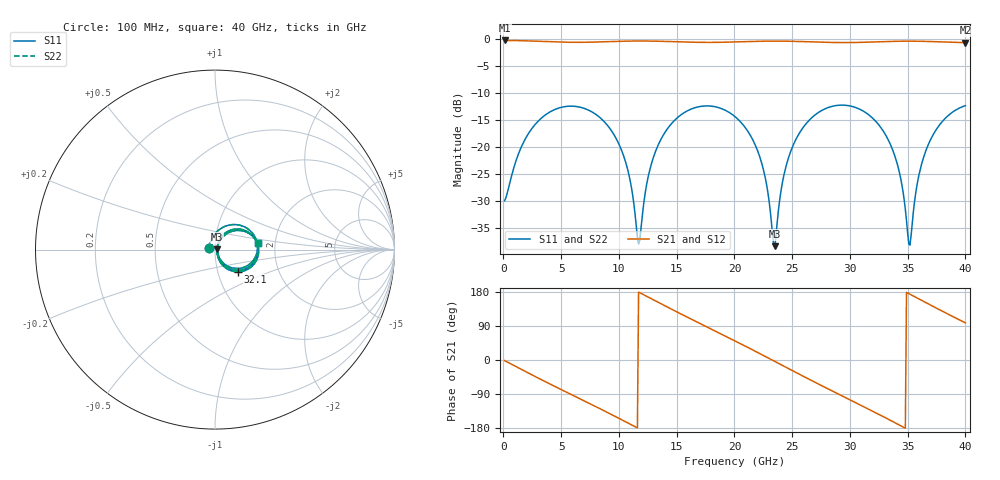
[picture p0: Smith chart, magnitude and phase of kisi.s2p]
! thru_BV_ts_refinout2_in: 2×thru F.Cu, 8 mm
! stackup: as the board case
! ports: 1 near, 2 far
! kisi-fdtd, conformal, dfine 0.035 mm, 978096 cells
# Hz S RI R 50
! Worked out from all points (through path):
!   400 points, 100 MHz to 40 GHz, reference 50 ohm
!   highest |S21| = -0.32 dB at 100 MHz (marker M1); lowest = -0.7 dB at 40 GHz (marker M2)
!   group delay of S21, straight-line fit = 43.1 ps
!   lowest |S11| = -38.4 dB at 23.5 GHz (marker M3), VSWR 1.02, Z = 51.2 + j0.258 ohm
!   |S11| at or under -10 dB: start of sweep to end of sweep
!   |S22| runs from -38.4 to -12.3 dB; largest |S21 - S12| = 0
!   S11 on the Smith chart (normalised r, x): 100 MHz: 0.94, +0.01; 32.1 GHz: 1.25, -0.32; 40 GHz: 1.62, +0.13
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1e8  -0.0309 0.00714  0.964 -0.0269  0.964 -0.0269  -0.0309 0.00714
2.7e9  0.0809 0.137  0.6965 -0.6467  0.6965 -0.6467  0.0809 0.137
6.8e9  0.2278 -0.035  -0.2402 -0.8955  -0.2402 -0.8955  0.2278 -0.035
1.02e10  0.0513 -0.0795  -0.873 -0.3693  -0.873 -0.3693  0.0513 -0.0795
1.1e10  0.0224 -0.0413  -0.9364 -0.1701  -0.9364 -0.1701  0.0224 -0.0413
1.17e10  0.0126 -0.00061  -0.9531 0.0138  -0.9531 0.0138  0.0126 -0.00061
1.25e10  0.021 0.0464  -0.926 0.2233  -0.926 0.2233  0.021 0.0464
1.34e10  0.0532 0.0895  -0.8392 0.4428  -0.8392 0.4428  0.0532 0.0895
1.68e10  0.2287 0.0477  -0.1568 0.9136  -0.1568 0.9136  0.2287 0.0477
2.01e10  0.151 -0.1128  0.6039 0.7133  0.6039 0.7133  0.151 -0.1128
2.23e10  0.0318 -0.0674  0.9149 0.2504  0.9149 0.2504  0.0318 -0.0674
2.35e10  0.0118 0.00252  0.9492 -0.0637  0.9492 -0.0637  0.0118 0.00252
2.46e10  0.0348 0.0656  0.8837 -0.3466  0.8837 -0.3466  0.0348 0.0656
2.67e10  0.1517 0.108  0.5429 -0.7618  0.5429 -0.7618  0.1517 0.108
2.94e10  0.2426 -0.0186  -0.0924 -0.9171  -0.0924 -0.9171  0.2426 -0.0186
3.21e10  0.1286 -0.1238  -0.6831 -0.6372  -0.6831 -0.6372  0.1286 -0.1238
3.34e10  0.0537 -0.0978  -0.872 -0.3617  -0.872 -0.3617  0.0537 -0.0978
3.44e10  0.0183 -0.0474  -0.9429 -0.1075  -0.9429 -0.1075  0.0183 -0.0474
3.52e10  0.0122 0.0017  -0.9443 0.1061  -0.9443 0.1061  0.0122 0.0017
3.58e10  0.0217 0.0379  -0.9119 0.2633  -0.9119 0.2633  0.0217 0.0379
3.67e10  0.0564 0.0822  -0.8132 0.4807  -0.8132 0.4807  0.0564 0.0822
4e10  0.2375 0.0372  -0.1277 0.9113  -0.1277 0.9113  0.2375 0.0372
